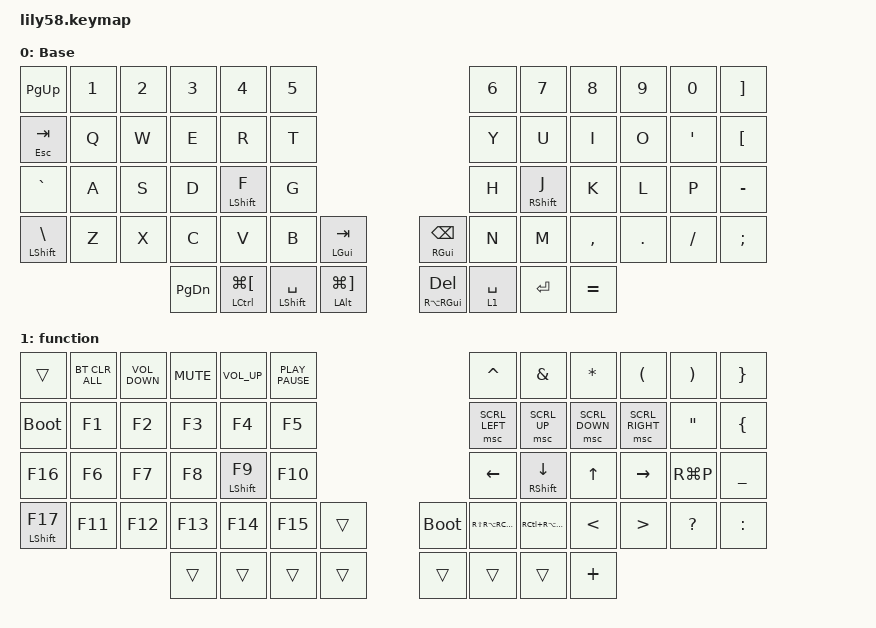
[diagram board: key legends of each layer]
/*
 * Copyright (c) 2020 The ZMK Contributors
 *
 * SPDX-License-Identifier: MIT
 */

#define ZMK_POINTING_DEFAULT_MOVE_VAL 1500  // default: 600
#define ZMK_POINTING_DEFAULT_SCRL_VAL 20    // default: 10

#include <behaviors.dtsi>
#include <dt-bindings/zmk/bt.h>
#include <dt-bindings/zmk/keys.h>
#include <dt-bindings/zmk/pointing.h>

/ {
    behaviors {
        hm: home_row {
            compatible = "zmk,behavior-hold-tap";
            label = "HOME_ROW";
            bindings = <&kp>, <&kp>;

            #binding-cells = <2>;
            tapping-term-ms = <200>;
        };

        td2: tap_dance_2 {
            compatible = "zmk,behavior-tap-dance";
            #binding-cells = <0>;
            tapping-term-ms = <200>;
            bindings = <&kp>, <&kp>;
        };
    };

    keymap {
        compatible = "zmk,keymap";

        default_layer {
            // ------------------------------------------------------------------------------------------------------------
            // |  ESC  |  1  |  2  |  3   |  4   |  5   |                   |  6   |  7    |  8    |  9   |   0   |   `   |
            // |  TAB  |  Q  |  W  |  E   |  R   |  T   |                   |  Y   |  U    |  I    |  O   |   P   |   -   |
            // |  CTRL |  A  |  S  |  D   |  F   |  G   |                   |  H   |  J    |  K    |  L   |   ;   |   '   |
            // | SHIFT |  Z  |  X  |  C   |  V   |  B   |   "["  |  |  "]"  |  N   |  M    |  ,    |  .   |   /   | SHIFT |
            //                     | ALT  | GUI  | LOWER|  SPACE |  | ENTER | RAISE| BSPC  | GUI   |

            display-name = "Base";
            bindings = <
&kp PAGE_UP               &kp N1  &kp N2  &kp N3         &kp N4                             &kp N5                                                                           &kp N6       &kp N7             &kp N8     &kp N9   &kp N0     &kp RIGHT_BRACKET
&hm ESCAPE TAB            &kp Q   &kp W   &kp E          &kp R                              &kp T                                                                            &kp Y        &kp U              &kp I      &kp O    &kp SQT    &kp LEFT_BRACKET
&kp GRAVE                 &kp A   &kp S   &kp D          &hm LEFT_SHIFT F                   &kp G                                                                            &kp H        &hm RIGHT_SHIFT J  &kp K      &kp L    &kp P      &kp MINUS
&mt LEFT_SHIFT BACKSLASH  &kp Z   &kp X   &kp C          &kp V                              &kp B                 &mt LEFT_GUI TAB                  &mt RIGHT_GUI BACKSPACE  &kp N        &kp M              &kp COMMA  &kp DOT  &kp SLASH  &kp SEMICOLON
                                          &kp PAGE_DOWN  &mt LEFT_CONTROL LG(LEFT_BRACKET)  &mt LEFT_SHIFT SPACE  &mt LEFT_ALT LG(RIGHT_BRACKET)    &mt RA(RIGHT_GUI) DEL    &lt 1 SPACE  &kp ENTER          &kp EQUAL
            >;
        };

        function {
            bindings = <
&trans              &bt BT_CLR_ALL  &kp C_VOLUME_DOWN  &kp K_MUTE  &kp C_VOLUME_UP    &kp K_PLAY_PAUSE                         &kp CARET             &kp AMPERSAND          &kp ASTERISK    &kp LEFT_PARENTHESIS  &kp RIGHT_PARENTHESIS  &kp RIGHT_BRACE
&bootloader         &kp F1          &kp F2             &kp F3      &kp F4             &kp F5                                   &msc SCRL_LEFT        &msc SCRL_UP           &msc SCRL_DOWN  &msc SCRL_RIGHT       &kp DOUBLE_QUOTES      &kp LEFT_BRACE
&kp F16             &kp F6          &kp F7             &kp F8      &hm LEFT_SHIFT F9  &kp F10                                  &kp LEFT_ARROW        &hm RIGHT_SHIFT DOWN   &kp UP_ARROW    &kp RIGHT             &kp RG(P)              &kp UNDERSCORE
&hm LEFT_SHIFT F17  &kp F11         &kp F12            &kp F13     &kp F14            &kp F15           &trans    &bootloader  &kp RS(RA(RC(LEFT)))  &kp RC(RA(RS(RIGHT)))  &kp LESS_THAN   &kp GREATER_THAN      &kp QUESTION           &kp COLON
                                                       &trans      &trans             &trans            &trans    &trans       &trans                &trans                 &kp PLUS
            >;
        };
    };
};
